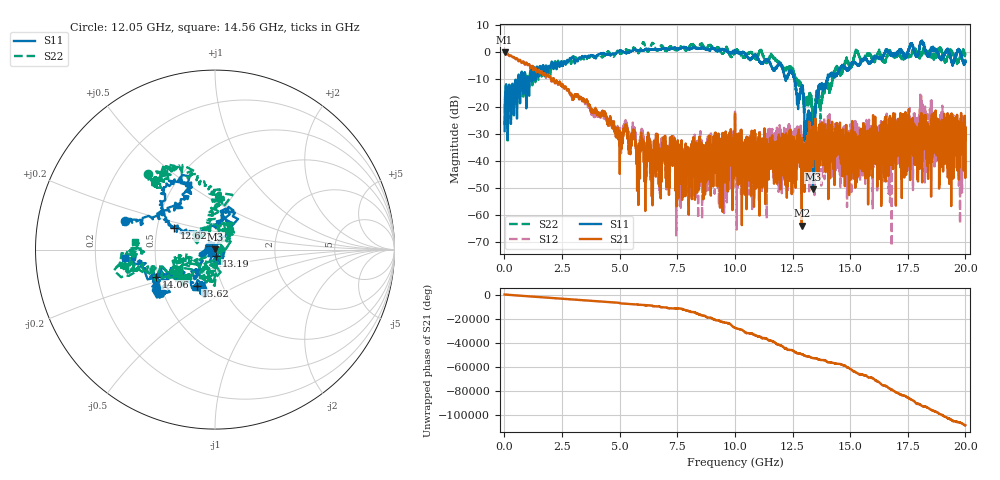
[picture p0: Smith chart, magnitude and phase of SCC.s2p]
! S Parameters saved at 10:16:02 08/31/07
# HZ DB S R 50
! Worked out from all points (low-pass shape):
!   3965 points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, 5.044 MHz to 20 GHz, reference 50 ohm
!   highest |S21| = -0.05 dB at 5.044 MHz (marker M1); lowest = -63.9 dB at 12.9 GHz (marker M2)
!   |S21| within 3 dB of the highest: start of sweep to 593.2 MHz; 647.9 MHz to 693.9 MHz (46.05 MHz wide, 6.86 % of centre)
!   lowest |S11| = -50.5 dB at 13.38 GHz (marker M3), VSWR 1.01, Z = 50.3 + j0.124 ohm
!   |S11| at or under -10 dB: start of sweep to 586.6 MHz; 912.3 MHz to 990.9 MHz (78.58 MHz wide, 8.26 % of centre); 12.58 GHz to 14 GHz (1.418 GHz wide, 10.7 % of centre) (the widest 3 of 12)
!   |S22| runs from -34.5 to 3.6 dB; largest |S21 - S12| = 0.21
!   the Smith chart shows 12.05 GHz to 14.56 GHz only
!   S11 on the Smith chart (normalised r, x): 12.05 GHz: 0.32, +0.14; 12.62 GHz: 0.61, +0.16; 13.19 GHz: 1.01, -0.07; 13.62 GHz: 0.75, -0.32; 14.06 GHz: 0.49, -0.17; 14.56 GHz: 0.33, -0.04
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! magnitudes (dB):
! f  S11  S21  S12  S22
! 5.044 MHz  -29.0  -0.1  -0.1  -26.8
! 1.206 GHz  -10.7  -5.1  -5.1  -11.8
! 3.339 GHz  -1.9  -16.9  -17.2  -2.3
! 5.589 GHz  0.8  -28.5  -27.1  1.6
! 5.791 GHz  0.7  -44.4  -50.5  -0.2
! 5.962 GHz  0.7  -31.8  -28.9  2.5
! 6.673 GHz  1.0  -33.7  -35.2  0.8
! 7.319 GHz  1.5  -35.1  -35.8  1.5
! 7.697 GHz  1.7  -39.2  -40.8  1.9
! 10 GHz  0.9  -22.6  -21.9  -0.2
! 10.81 GHz  -1.3  -29.2  -38.6  -1.1
! 12.05 GHz  -5.6  -35.7  -37.3  -5.0
! 12.62 GHz  -11.8  -35.5  -41.2  -9.0
! 12.9 GHz  -12.6  -63.9  -32.7  -12.5
! 13.19 GHz  -29.2  -32.9  -33.3  -18.3
! 13.34 GHz  -26.0  -29.2  -33.5  -18.0
! 13.38 GHz  -50.5  -38.9  -32.1  -23.4
! 13.62 GHz  -12.9  -35.6  -27.7  -15.6
! 14.06 GHz  -8.8  -25.2  -35.7  -11.7
! 14.56 GHz  -6.0  -25.9  -41.2  -7.0
! 16.67 GHz  0.3  -31.5  -52.1  0.7
! 20 GHz  -3.1  -28.2  -29.6  -1.6
